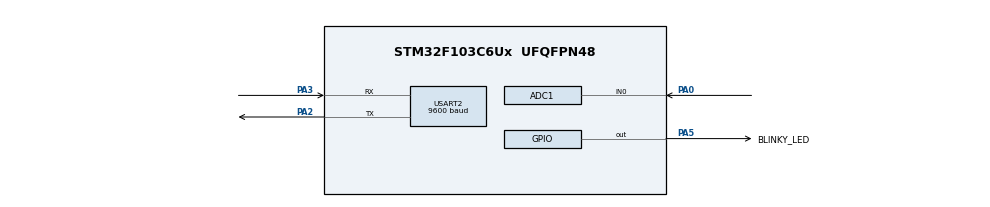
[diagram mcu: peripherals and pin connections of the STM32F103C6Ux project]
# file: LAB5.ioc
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ADC1.Channel-0\#ChannelRegularConversion=ADC_CHANNEL_0
ADC1.ContinuousConvMode=ENABLE
ADC1.NbrOfConversionFlag=1
ADC1.Rank-0\#ChannelRegularConversion=1
ADC1.SamplingTime-0\#ChannelRegularConversion=ADC_SAMPLETIME_239CYCLES_5
ADC1.master=1
Mcu.Family=STM32F1
Mcu.Name=STM32F103C6Ux
Mcu.Package=UFQFPN48
NVIC.PriorityGroup=NVIC_PRIORITYGROUP_4
NVIC.TIM2_IRQn=true\:0\:0\:false\:false\:true\:true\:true
NVIC.USART2_IRQn=true\:0\:0\:false\:false\:true\:true\:true
PA0-WKUP.Signal=ADCx_IN0
PA2.Mode=Asynchronous
PA2.Signal=USART2_TX
PA3.Mode=Asynchronous
PA3.Signal=USART2_RX
PA5.GPIO_Label=BLINKY_LED
PA5.Signal=GPIO_Output
ProjectManager.HeapSize=0x200
ProjectManager.StackSize=0x400
ProjectManager.TargetToolchain=STM32CubeIDE
RCC.APB1Freq_Value=8000000
RCC.APB2Freq_Value=8000000
SH.ADCx_IN0.0=ADC1_IN0,IN0
TIM2.Period=9
TIM2.Prescaler=7999
USART2.BaudRate=9600
USART2.VirtualMode=VM_ASYNC
VP_SYS_VS_ND.Mode=No_Debug
VP_TIM2_VS_ClockSourceINT.Mode=Internal
board=custom

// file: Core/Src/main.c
/* USER CODE BEGIN Header */
/**
  ******************************************************************************
  * @file           : main.c
  * @brief          : Main program body
  ******************************************************************************
  * @attention
  *
  * <h2><center>&copy; Copyright (c) 2023 STMicroelectronics.
  * All rights reserved.</center></h2>
  *
  * This software component is licensed by ST under BSD 3-Clause license,
  * the "License"; You may not use this file except in compliance with the
  * License. You may obtain a copy of the License at:
  *                        opensource.org/licenses/BSD-3-Clause
  *
  ******************************************************************************
  */
/* USER CODE END Header */
#include "main.h"
#include "uart.h"

void SystemClock_Config(void);
static void MX_GPIO_Init(void);
static void MX_TIM2_Init(void);
static void MX_ADC1_Init(void);
static void MX_USART2_UART_Init(void);

/* USER CODE BEGIN 0 */
uint8_t temp = 0;
uint8_t buffer[30];
uint8_t index_buffer = 0;
uint8_t buffer_flag = 0;
/* USER CODE END 0 */

int main(void)
{

  /* MCU Configuration--------------------------------------------------------*/

  /* Reset of all peripherals, Initializes the Flash interface and the Systick. */
  HAL_Init();

  /* Configure the system clock */
  SystemClock_Config();

  /* Initialize all configured peripherals */
  MX_GPIO_Init();
  MX_TIM2_Init();
  MX_ADC1_Init();
  MX_USART2_UART_Init();

  HAL_TIM_Base_Start_IT(&htim2);
  HAL_ADC_Start(&hadc1);

  /* Infinite loop */
  /* USER CODE BEGIN WHILE */
  while (1)
  {
	  if (buffer_flag == 1) {
		  command_parser_fsm(&buffer);
		  buffer_flag = 0;
	  }
	  uart_communication_fsm(&index_buffer);
  }
  /* USER CODE END 3 */
}

void SystemClock_Config(void)
{
  RCC_OscInitTypeDef RCC_OscInitStruct = {0};
  RCC_ClkInitTypeDef RCC_ClkInitStruct = {0};
  RCC_PeriphCLKInitTypeDef PeriphClkInit = {0};

  /** Initializes the RCC Oscillators according to the specified parameters
  * in the RCC_OscInitTypeDef structure.
  */
  RCC_OscInitStruct.OscillatorType = RCC_OSCILLATORTYPE_HSI;
  RCC_OscInitStruct.HSIState = RCC_HSI_ON;
  RCC_OscInitStruct.HSICalibrationValue = RCC_HSICALIBRATION_DEFAULT;
  RCC_OscInitStruct.PLL.PLLState = RCC_PLL_NONE;
  if (HAL_RCC_OscConfig(&RCC_OscInitStruct) != HAL_OK)
  {
    Error_Handler();
  }
  /** Initializes the CPU, AHB and APB buses clocks
  */
  RCC_ClkInitStruct.ClockType = RCC_CLOCKTYPE_HCLK|RCC_CLOCKTYPE_SYSCLK
                              |RCC_CLOCKTYPE_PCLK1|RCC_CLOCKTYPE_PCLK2;
  RCC_ClkInitStruct.SYSCLKSource = RCC_SYSCLKSOURCE_HSI;
  RCC_ClkInitStruct.AHBCLKDivider = RCC_SYSCLK_DIV1;
  RCC_ClkInitStruct.APB1CLKDivider = RCC_HCLK_DIV1;
  RCC_ClkInitStruct.APB2CLKDivider = RCC_HCLK_DIV1;

  if (HAL_RCC_ClockConfig(&RCC_ClkInitStruct, FLASH_LATENCY_0) != HAL_OK)
  {
    Error_Handler();
  }
  PeriphClkInit.PeriphClockSelection = RCC_PERIPHCLK_ADC;
  PeriphClkInit.AdcClockSelection = RCC_ADCPCLK2_DIV2;
  if (HAL_RCCEx_PeriphCLKConfig(&PeriphClkInit) != HAL_OK)
  {
    Error_Handler();
  }
}

static void MX_ADC1_Init(void)
{

  ADC_ChannelConfTypeDef sConfig = {0};

  /** Common config
  */
  hadc1.Instance = ADC1;
  hadc1.Init.ScanConvMode = ADC_SCAN_DISABLE;
  hadc1.Init.ContinuousConvMode = ENABLE;
  hadc1.Init.DiscontinuousConvMode = DISABLE;
  hadc1.Init.ExternalTrigConv = ADC_SOFTWARE_START;
  hadc1.Init.DataAlign = ADC_DATAALIGN_RIGHT;
  hadc1.Init.NbrOfConversion = 1;
  if (HAL_ADC_Init(&hadc1) != HAL_OK)
  {
    Error_Handler();
  }
  /** Configure Regular Channel
  */
  sConfig.Channel = ADC_CHANNEL_0;
  sConfig.Rank = ADC_REGULAR_RANK_1;
  sConfig.SamplingTime = ADC_SAMPLETIME_239CYCLES_5;
  if (HAL_ADC_ConfigChannel(&hadc1, &sConfig) != HAL_OK)
  {
    Error_Handler();
  }

}

static void MX_TIM2_Init(void)
{

  TIM_ClockConfigTypeDef sClockSourceConfig = {0};
  TIM_MasterConfigTypeDef sMasterConfig = {0};

  htim2.Instance = TIM2;
  htim2.Init.Prescaler = 7999;
  htim2.Init.CounterMode = TIM_COUNTERMODE_UP;
  htim2.Init.Period = 9;
  htim2.Init.ClockDivision = TIM_CLOCKDIVISION_DIV1;
  htim2.Init.AutoReloadPreload = TIM_AUTORELOAD_PRELOAD_DISABLE;
  if (HAL_TIM_Base_Init(&htim2) != HAL_OK)
  {
    Error_Handler();
  }
  sClockSourceConfig.ClockSource = TIM_CLOCKSOURCE_INTERNAL;
  if (HAL_TIM_ConfigClockSource(&htim2, &sClockSourceConfig) != HAL_OK)
  {
    Error_Handler();
  }
  sMasterConfig.MasterOutputTrigger = TIM_TRGO_RESET;
  sMasterConfig.MasterSlaveMode = TIM_MASTERSLAVEMODE_DISABLE;
  if (HAL_TIMEx_MasterConfigSynchronization(&htim2, &sMasterConfig) != HAL_OK)
  {
    Error_Handler();
  }

}

static void MX_USART2_UART_Init(void)
{

  huart2.Instance = USART2;
  huart2.Init.BaudRate = 9600;
  huart2.Init.WordLength = UART_WORDLENGTH_8B;
  huart2.Init.StopBits = UART_STOPBITS_1;
  huart2.Init.Parity = UART_PARITY_NONE;
  huart2.Init.Mode = UART_MODE_TX_RX;
  huart2.Init.HwFlowCtl = UART_HWCONTROL_NONE;
  huart2.Init.OverSampling = UART_OVERSAMPLING_16;
  if (HAL_UART_Init(&huart2) != HAL_OK)
  {
    Error_Handler();
  }

}

static void MX_GPIO_Init(void)
{
  GPIO_InitTypeDef GPIO_InitStruct = {0};

  /* GPIO Ports Clock Enable */
  __HAL_RCC_GPIOA_CLK_ENABLE();

  /*Configure GPIO pin Output Level */
  HAL_GPIO_WritePin(BLINKY_LED_GPIO_Port, BLINKY_LED_Pin, GPIO_PIN_RESET);

  /*Configure GPIO pin : BLINKY_LED_Pin */
  GPIO_InitStruct.Pin = BLINKY_LED_Pin;
  GPIO_InitStruct.Mode = GPIO_MODE_OUTPUT_PP;
  GPIO_InitStruct.Pull = GPIO_NOPULL;
  GPIO_InitStruct.Speed = GPIO_SPEED_FREQ_LOW;
  HAL_GPIO_Init(BLINKY_LED_GPIO_Port, &GPIO_InitStruct);

}

/* USER CODE BEGIN 4 */
void HAL_TIM_PeriodElapsedCallback(TIM_HandleTypeDef *htim) {
	time--;
	if (time <= 0) {
		time_flag = 1;
	}
}

void HAL_UART_RxCpltCallback(UART_HandleTypeDef *huart) {
	if (huart->Instance == huart2.Instance) {
		HAL_UART_Receive_IT(&huart2, &temp, 1);
		buffer[index_buffer++] = temp;
		if(index_buffer == 30) {
			index_buffer = 0;
		}
		buffer_flag = 1;
		HAL_GPIO_TogglePin(BLINKY_LED_GPIO_Port, BLINKY_LED_Pin);
	}
}
/* USER CODE END 4 */

void Error_Handler(void)
{
  __disable_irq();
  while (1)
  {
  }
}

/************************ (C) COPYRIGHT STMicroelectronics *****END OF FILE****/
